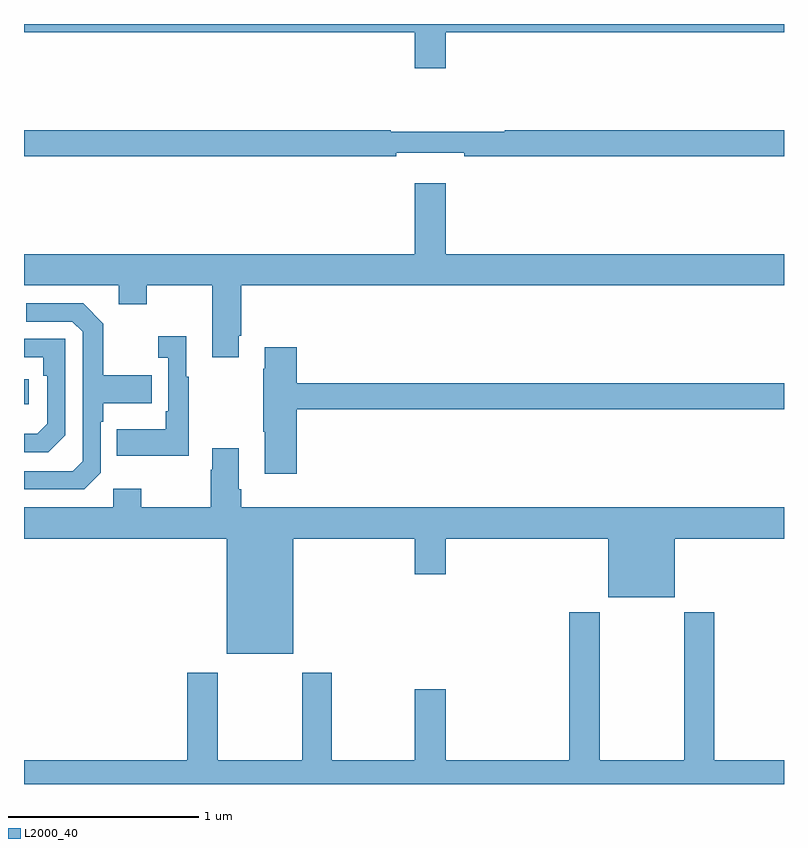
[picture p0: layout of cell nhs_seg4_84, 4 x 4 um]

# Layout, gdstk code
import gdstk
lib = gdstk.Library(unit=1e-6, precision=1e-09)
def R(c, l, rs):  # rectangles x0, y0, x1, y1
    for r in rs: c.add(gdstk.rectangle(r[:2], r[2:], *l))
def P(c, l, *ps):  # polygons
    for p in ps: c.add(gdstk.Polygon(p, *l))
L2000_40 = (2000, 40)

nhs_seg4_84 = lib.new_cell('nhs_seg4_84')
R(nhs_seg4_84, L2000_40, [(115,758.9,115.024,759.03)])
P(nhs_seg4_84, L2000_40, [(117.22,760.856),(119,760.856),(119,760.9),(115,760.9),(115,760.856),(117.056,760.856),(117.056,760.668),(117.22,760.668)],
  [(116.96,760.223),(117.316,760.223),(117.316,760.204),(119,760.204),(119,760.34),(117.53,760.34),(117.53,760.333),(116.93,760.333),(116.93,760.34),(115,760.34),(115,760.204),(116.96,760.204)],
  [(116.131,759.259),(116.144,759.259),(116.144,759.524),(119,759.524),(119,759.688),(117.22,759.688),(117.22,760.063),(117.056,760.063),(117.056,759.688),(115,759.688),(115,759.524),(115.499,759.524),(115.499,759.425),(115.647,759.425),(115.647,759.524),(115.991,759.524),(115.991,759.147),(116.131,759.147)],
  [(115.404,758.538),(115.404,758.807),(115.417,758.807),(115.417,758.903),(115.673,758.903),(115.673,759.051),(115.417,759.051),(115.417,759.323),(115.311,759.429),(115.011,759.429),(115.011,759.333),(115.254,759.333),(115.308,759.279),(115.308,758.598),(115.257,758.547),(115,758.547),(115,758.451),(115.317,758.451)],
  [(115.867,759.043),(115.855,759.043),(115.855,759.256),(115.707,759.256),(115.707,759.143),(115.758,759.143),(115.758,758.863),(115.746,758.863),(115.746,758.767),(115.489,758.767),(115.489,758.627),(115.867,758.627)],
  [(115.218,758.736),(115.218,759.243),(115,759.243),(115,759.147),(115.102,759.147),(115.102,759.05),(115.122,759.05),(115.122,758.796),(115.069,758.743),(115,758.743),(115,758.646),(115.128,758.646)],
  [(116.435,758.872),(119,758.872),(119,759.008),(116.435,759.008),(116.435,759.199),(116.267,759.199),(116.267,759.086),(116.26,759.086),(116.26,758.755),(116.267,758.755),(116.267,758.532),(116.435,758.532)],
  [(116.416,758.192),(117.056,758.192),(117.056,758.004),(117.22,758.004),(117.22,758.192),(118.076,758.192),(118.076,757.883),(118.426,757.883),(118.426,758.192),(119,758.192),(119,758.356),(116.144,758.356),(116.144,758.452),(116.131,758.452),(116.131,758.668),(115.991,758.668),(115.991,758.555),(115.984,758.555),(115.984,758.356),(115.617,758.356),(115.617,758.455),(115.47,758.455),(115.47,758.356),(115,758.356),(115,758.192),(116.066,758.192),(116.066,757.586),(116.416,757.586)],
  [(119,757.024),(118.634,757.024),(118.634,757.804),(118.474,757.804),(118.474,757.024),(118.029,757.024),(118.029,757.804),(117.869,757.804),(117.869,757.024),(117.22,757.024),(117.22,757.399),(117.056,757.399),(117.056,757.024),(116.619,757.024),(116.619,757.486),(116.464,757.486),(116.464,757.024),(116.019,757.024),(116.019,757.486),(115.859,757.486),(115.859,757.024),(115,757.024),(115,756.9),(119,756.9)])

lib.write_gds('nhs_seg4_84.gds')
